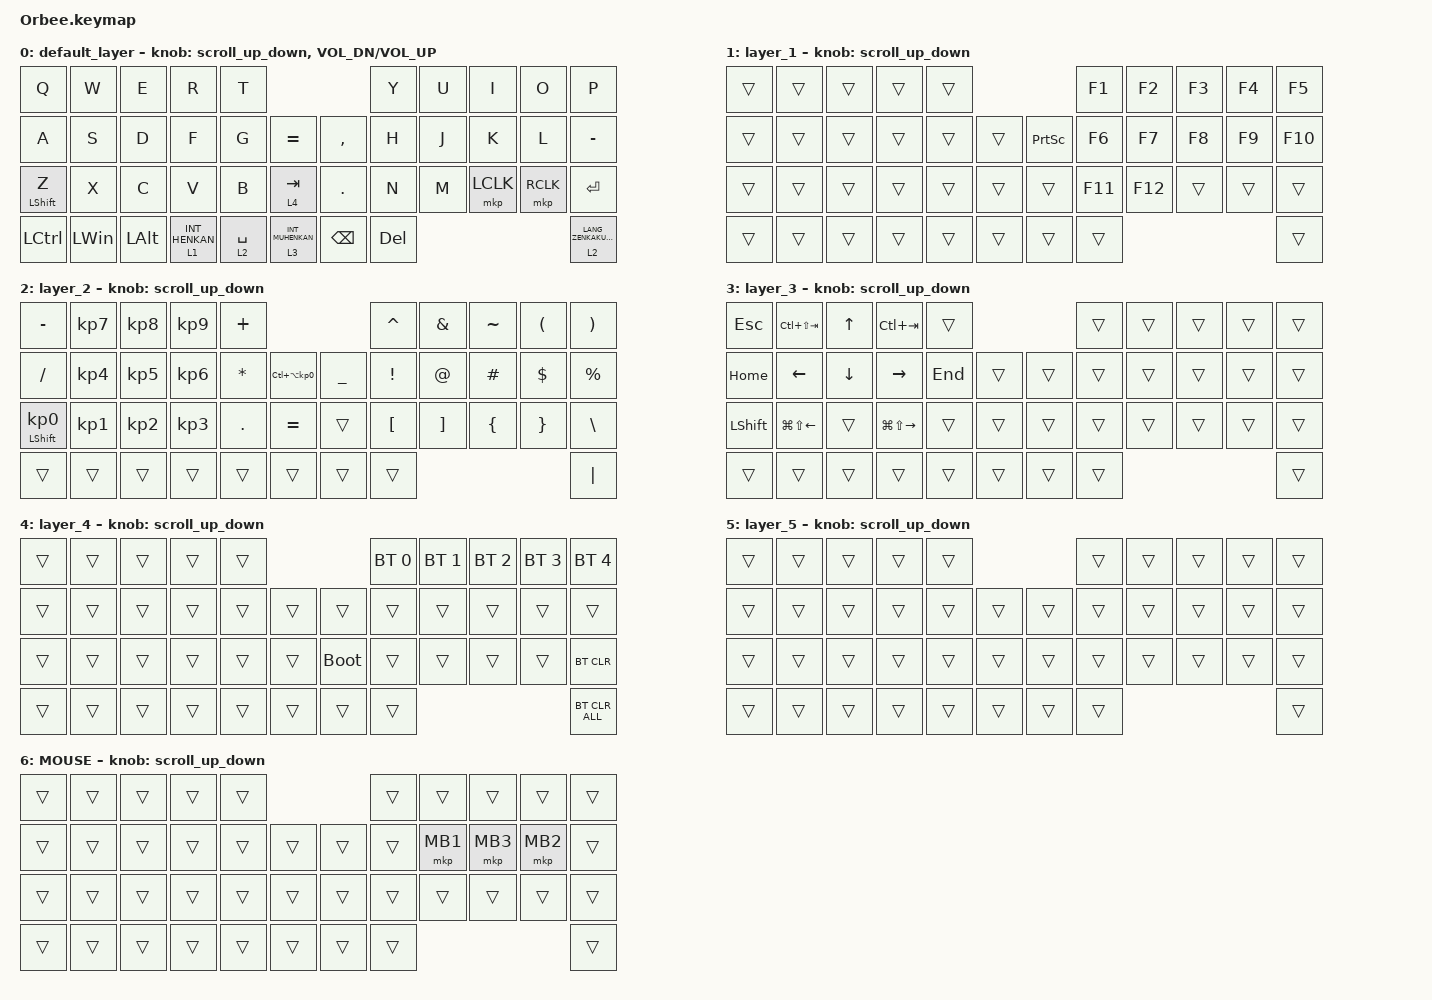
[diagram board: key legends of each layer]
#include <behaviors.dtsi>
#include <dt-bindings/zmk/bt.h>
#include <dt-bindings/zmk/keys.h>
#include <dt-bindings/zmk/pointing.h>

#define ZMK_POINTING_DEFAULT_SCRL_VAL 100
#define MOUSE 6

&mt {
    flavor = "balanced";
    quick-tap-ms = <0>;
};

/ {
    combos { compatible = "zmk,combos"; };

    macros {
        to_layer_0: to_layer_0 {
            compatible = "zmk,behavior-macro-one-param";
            #binding-cells = <1>;
            bindings = <&to 0 &macro_param_1to1 &kp MACRO_PLACEHOLDER>;
            label = "TO_LAYER_0";
        };
    };

    behaviors {
        touch_behavior_1: touch1 {
            compatible = "zmk,behavior-momentary";
            label = "TouchKey1";
            bindings = <&kp A>;
        };

        touch_behavior_2: touch2 {
            compatible = "zmk,behavior-momentary";
            label = "TouchKey2";
            bindings = <&kp B>;
        };

        touch_behavior_3: touch3 {
            compatible = "zmk,behavior-momentary";
            label = "TouchKey3";
            bindings = <&mo 1>;
        };

        lt_to_layer_0: lt_to_layer_0 {
            compatible = "zmk,behavior-hold-tap";
            label = "LAYER_TAP_TO_0";
            bindings = <&mo>, <&to_layer_0>;

            #binding-cells = <2>;
            tapping-term-ms = <200>;
        };

        scroll_up_down: behavior_sensor_rotate_mouse_wheel_up_down {
            compatible = "zmk,behavior-sensor-rotate";
            #sensor-binding-cells = <0>;
            bindings = <&msc SCRL_UP>, <&msc SCRL_DOWN>;

            tap-ms = <20>;
        };
    };

    keymap {
        compatible = "zmk,keymap";

        default_layer {
            bindings = <
&kp Q             &kp W         &kp E         &kp R             &kp T                                             &kp Y    &kp U  &kp I      &kp O      &kp P
&kp A             &kp S         &kp D         &kp F             &kp G        &kp EQUAL             &kp COMMA      &kp H    &kp J  &kp K      &kp L      &kp MINUS
&mt LEFT_SHIFT Z  &kp X         &kp C         &kp V             &kp B        &lt 4 TAB             &kp DOT        &kp N    &kp M  &mkp LCLK  &mkp RCLK  &kp ENTER
&kp LCTRL         &kp LEFT_WIN  &kp LEFT_ALT  &lt 1 INT_HENKAN  &lt 2 SPACE  &lt 3 INT_MUHENKAN    &kp BACKSPACE  &kp DEL                               &lt 2 LANG_ZENKAKUHANKAKU
            >;

            sensor-bindings =
                <&scroll_up_down>,
                <&inc_dec_kp C_VOL_DN C_VOL_UP>;
        };

        layer_1 {
            bindings = <
&trans  &trans  &trans  &trans  &trans                             &kp F1   &kp F2   &kp F3  &kp F4  &kp F5
&trans  &trans  &trans  &trans  &trans  &trans    &kp PRINTSCREEN  &kp F6   &kp F7   &kp F8  &kp F9  &kp F10
&trans  &trans  &trans  &trans  &trans  &trans    &trans           &kp F11  &kp F12  &trans  &trans  &trans
&trans  &trans  &trans  &trans  &trans  &trans    &trans           &trans                            &trans
            >;

            sensor-bindings = <&scroll_up_down>;
        };

        layer_2 {
            bindings = <
&kp MINUS                   &kp KP_NUMBER_7  &kp KP_NUMBER_8  &kp KP_NUMBER_9  &kp PLUS                                                 &kp CARET         &kp AMPERSAND      &kp TILDE       &kp LEFT_PARENTHESIS  &kp RIGHT_PARENTHESIS
&kp SLASH                   &kp KP_NUMBER_4  &kp KP_NUMBER_5  &kp KP_NUMBER_6  &kp ASTERISK  &kp LC(LA(KP_NUMBER_0))    &kp UNDERSCORE  &kp EXCLAMATION   &kp AT_SIGN        &kp HASH        &kp DOLLAR            &kp PERCENT
&mt LEFT_SHIFT KP_NUMBER_0  &kp KP_NUMBER_1  &kp KP_NUMBER_2  &kp KP_NUMBER_3  &kp PERIOD    &kp EQUAL                  &trans          &kp LEFT_BRACKET  &kp RIGHT_BRACKET  &kp LEFT_BRACE  &kp RIGHT_BRACE       &kp BACKSLASH
&trans                      &trans           &trans           &trans           &trans        &trans                     &trans          &trans                                                                     &kp PIPE
            >;

            sensor-bindings = <&scroll_up_down>;
        };

        layer_3 {
            bindings = <
&kp ESCAPE      &kp LC(LS(TAB))         &kp UP_ARROW    &kp LC(TAB)              &trans                     &trans  &trans  &trans  &trans  &trans
&kp HOME        &kp LEFT_ARROW          &kp DOWN_ARROW  &kp RIGHT_ARROW          &kp END  &trans    &trans  &trans  &trans  &trans  &trans  &trans
&kp LEFT_SHIFT  &kp LG(LS(LEFT_ARROW))  &trans          &kp LG(LS(RIGHT_ARROW))  &trans   &trans    &trans  &trans  &trans  &trans  &trans  &trans
&trans          &trans                  &trans          &trans                   &trans   &trans    &trans  &trans                          &trans
            >;

            sensor-bindings = <&scroll_up_down>;
        };

        layer_4 {
            bindings = <
&trans  &trans  &trans  &trans  &trans                         &bt BT_SEL 0  &bt BT_SEL 1  &bt BT_SEL 2  &bt BT_SEL 3  &bt BT_SEL 4
&trans  &trans  &trans  &trans  &trans  &trans    &trans       &trans        &trans        &trans        &trans        &trans
&trans  &trans  &trans  &trans  &trans  &trans    &bootloader  &trans        &trans        &trans        &trans        &bt BT_CLR
&trans  &trans  &trans  &trans  &trans  &trans    &trans       &trans                                                  &bt BT_CLR_ALL
            >;

            sensor-bindings = <&scroll_up_down>;
        };

        layer_5 {
            bindings = <
&trans  &trans  &trans  &trans  &trans                    &trans  &trans  &trans  &trans  &trans
&trans  &trans  &trans  &trans  &trans  &trans    &trans  &trans  &trans  &trans  &trans  &trans
&trans  &trans  &trans  &trans  &trans  &trans    &trans  &trans  &trans  &trans  &trans  &trans
&trans  &trans  &trans  &trans  &trans  &trans    &trans  &trans                          &trans
            >;

            sensor-bindings = <&scroll_up_down>;
        };

        MOUSE {
            bindings = <
&trans  &trans  &trans  &trans  &trans                    &trans  &trans    &trans    &trans    &trans
&trans  &trans  &trans  &trans  &trans  &trans    &trans  &trans  &mkp MB1  &mkp MB3  &mkp MB2  &trans
&trans  &trans  &trans  &trans  &trans  &trans    &trans  &trans  &trans    &trans    &trans    &trans
&trans  &trans  &trans  &trans  &trans  &trans    &trans  &trans                                &trans
            >;

            sensor-bindings = <&scroll_up_down>;
        };
    };
};
